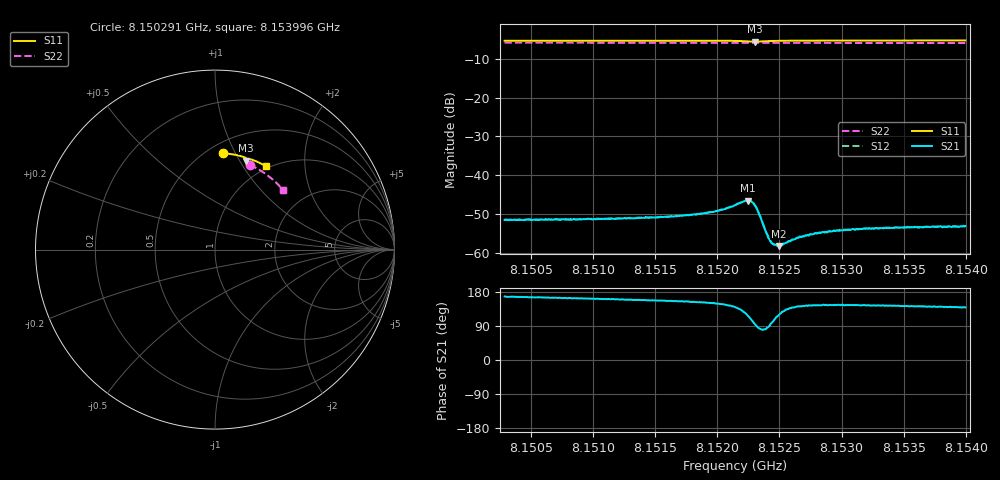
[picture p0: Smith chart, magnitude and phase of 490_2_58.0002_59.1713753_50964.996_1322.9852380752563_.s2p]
#  HZ  S  RI  R  50.00
! Rohde & Schwarz Vector Network Analyzer
! Rohde-Schwarz,ZNB20-2Port,1311601062101988,3.16
! Created: UTC 3/21/2024, 1:12:14 AM
! freq[Hz]  re:S11  im:S11  re:S21  im:S21  re:S12  im:S12  re:S22  im:S22
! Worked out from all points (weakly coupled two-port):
!   401 points, 8.150291 GHz to 8.153996 GHz, reference 50 ohm
!   highest |S21| = -46.56 dB at 8.152245 GHz (marker M1); lowest = -58.2 dB at 8.152495 GHz (marker M2)
!   lowest |S11| = -5.6 dB at 8.152301 GHz (marker M3), VSWR 3.21, Z = 39 + j53.4 ohm
!   |S11| at or under -10 dB: nowhere
!   |S22| runs from -6.0 to -5.9 dB; largest |S21 - S12| = 0.00011
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8.1502906e9  0.0433 0.5367  -0.00259 0.000566  -0.00263 0.00063  0.1935 0.4712
8.1509112e9  0.0865 0.5327  -0.00259 0.000788  -0.00257 0.000867  0.2296 0.4538
8.1515318e9  0.1296 0.5248  -0.00263 0.00112  -0.00264 0.00117  0.2638 0.4339
8.1517911e9  0.1478 0.5199  -0.00276 0.00137  -0.00276 0.00141  0.2775 0.4249
8.1519394e9  0.1586 0.5166  -0.0029 0.00162  -0.00288 0.00165  0.2853 0.4193
8.1520505e9  0.1673 0.5129  -0.00305 0.00196  -0.00308 0.00205  0.291 0.415
8.1521431e9  0.1743 0.5082  -0.00312 0.00266  -0.00309 0.0027  0.2957 0.4115
8.152245e9  0.1783 0.4982  -0.00217 0.00417  -0.00213 0.00424  0.3007 0.4072
8.1522728e9  0.1763 0.4958  -0.00135 0.00444  -0.00127 0.00444  0.3019 0.406
8.1523006e9  0.1735 0.4956  -0.000397 0.00414  -0.000331 0.0041  0.3031 0.405
8.1523284e9  0.1714 0.4977  0.000271 0.0034  0.000289 0.00345  0.3045 0.4042
8.152384e9  0.1735 0.5033  0.000321 0.00198  0.000323 0.002  0.3071 0.4022
8.152421e9  0.177 0.5053  -1.04e-05 0.00148  3.54e-06 0.0015  0.309 0.4008
8.1524395e9  0.1788 0.5058  -0.000195 0.00132  -0.000188 0.00132  0.31 0.4002
8.1524581e9  0.1807 0.5061  -0.000348 0.00124  -0.000341 0.00122  0.311 0.3995
8.1524951e9  0.1841 0.5061  -0.000592 0.00108  -0.000623 0.0011  0.3129 0.3978
8.1526433e9  0.1965 0.504  -0.00122 0.000965  -0.00121 0.001  0.3201 0.3919
8.1527638e9  0.2054 0.5012  -0.00139 0.00102  -0.00139 0.00104  0.3259 0.3869
8.1528379e9  0.2107 0.4993  -0.00148 0.00106  -0.00148 0.00106  0.3294 0.3837
8.1530046e9  0.222 0.4949  -0.00162 0.00108  -0.0016 0.00115  0.3372 0.3766
8.1533844e9  0.2466 0.484  -0.00168 0.00124  -0.00167 0.00131  0.3541 0.3598
8.1539957e9  0.2841 0.4641  -0.00166 0.00146  -0.00166 0.00147  0.38 0.3311
